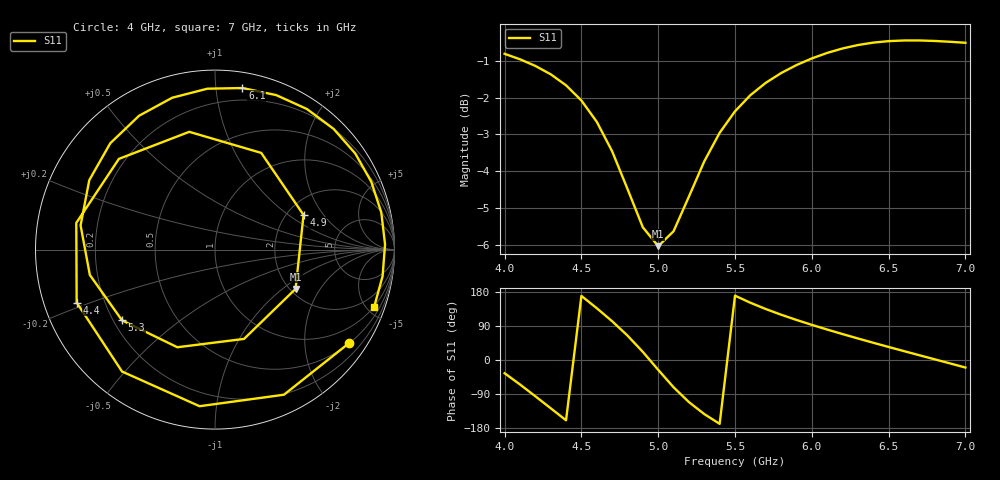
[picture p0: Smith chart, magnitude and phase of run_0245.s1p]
! Touchstone file exported from HFSS 2024.2.0
!  File:  C:/Users/wsak9/Desktop/Sim Fast/Widenad Patch/WP_AI_V1_sweep.aedt
!  Generated:  01:17:27 AM Oct 14, 2026
!  Design:  A1_model
!  Project:  WP_AI_V1_sweep
!  Setup:  Setup1
!  Solution:  Sweep
! Variables:
!  Air_gap = 4.05mm
!  Curve_Amp1 = 1.26
!  Curve_len1 = 1
!  Curve_pos = 12.36mm
!  Extra = 4.77mm
!  H_sub = 0.79mm
!  L_Patch = 20.72mm
!  L_Patch1 = 13.38mm
!  Sx = 1.89mm
!  Sy = 2.16mm
!  WS = 0.7mm
!  W_Patch = 10.97mm
!  W_Patch1 = 8.61mm
!Data is not renormalized
# GHz S MA
! Terminal data exported
! Port[1] = 1
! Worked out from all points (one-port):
!   31 points, 4 GHz to 7 GHz, reference per port
!   lowest |S11| = -6.0 dB at 5 GHz (marker M1), VSWR 3.00
!   |S11| at or under -10 dB: nowhere
!   S11 on the Smith chart (normalised r, x): 4 GHz: 0.51, -3.10; 4.4 GHz: 0.10, -0.18; 4.9 GHz: 2.45, +1.31; 5.3 GHz: 0.23, -0.32; 6.1 GHz: 0.11, +1.18; 7 GHz: 0.97, -5.55
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4  0.9105 -34.9
4.1  0.8951 -64.6
4.2  0.8768 -95.6
4.3  0.8542 -127.3
4.4  0.8253 -159.1
4.5  0.787 169.1
4.6  0.7364 136.7
4.7  0.6717 102.3
4.8  0.5971 64.4
4.9  0.5297 21.4
5  0.4994 -26.0
5.1  0.5232 -72.0
5.2  0.5831 -111.1
5.3  0.6509 -142.7
5.4  0.7115 -168.6
5.5  0.7609 169.8
5.6  0.8002 151.1
5.7  0.8316 134.5
5.8  0.8574 119.6
5.9  0.8791 105.7
6  0.8975 92.7
6.1  0.9131 80.4
6.2  0.9259 68.4
6.3  0.9358 56.8
6.5  0.9473 34.4
6.7  0.9493 12.6
6.8  0.9479 1.8
7  0.9425 -19.9
